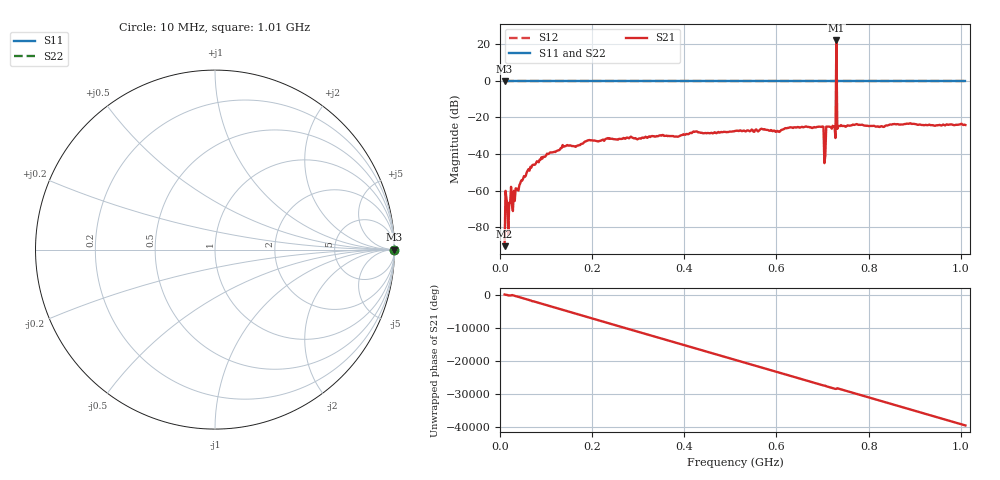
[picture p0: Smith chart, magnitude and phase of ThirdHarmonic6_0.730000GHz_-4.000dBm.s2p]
! 8/16/2025 12:24:43 AM
! C:\ANRITSUVNA\TEMP\TEMP.S2P
! CHANNEL.1
! TR.MEASUREMENT
! RAW.DATA
! RF.CORRECTION.OFF
! AVERAGING.OFF
! IF.BANDWIDTH: 5KHZ
! SWEEPTYPE:  FREQ.SWEEP(Linear)
! Reference Plane Port Info
! PORT:  PORT1  PORT2
! DISTANCE:  0  m  0  m
! TIME:  0  s  0  s
! PHASE.OFFSET:  0  deg.  0  deg.
! LOSS:  0  dB  0  dB
! REF.LOSS:  0  dB  0  dB
! REF.FREQ:  0  Hz  0  Hz
! Power Info
! POWER:  -20  dBm  -20  dBm
! EFF.POWER:  -20  dBm  -20  dBm
! SOURCE.ATTEN:  0  dB  0  dB
! TEST.ATTEN:  0  dB  0  dB
# GHZ S RI R 50.0
! FREQ.GHZ  S11RE  S11IM  S21RE  S21IM  S12RE  S12IM  S22RE  S22IM
!; PortSelection: Port_12
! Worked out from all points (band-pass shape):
!   501 points, 10 MHz to 1.01 GHz, reference 50 ohm
!   highest |S21| = 22.12 dB at 730 MHz (marker M1); lowest = -90.4 dB at 10 MHz (marker M2)
!   |S21| within 3 dB of the highest: 729.8876 MHz to 730.1241 MHz (236.5 kHz wide, 0.0324 % of centre)
!   lowest |S11| = 0.0 dB at 10 MHz (marker M3)
!   |S11| at or under -10 dB: nowhere
!   |S22| runs from 0.0 to 0.0 dB; largest |S21 - S12| = 12
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0.01  1 0  2.89e-05 9e-06  1 0  1 0
0.016  1 0  -0.000154 -0.00038  1 0  1 0
0.03  1 0  0.000426 0.00089  1 0  1 0
0.034  1 0  -0.000464 -0.00105  1 0  1 0
0.048  1 0  0.000599 0.00178  1 0  1 0
0.07  1 0  -0.00437 0.00226  1 0  1 0
0.136  1 0  0.00611 0.0166  1 0  1 0
0.178  1 0  -0.0187 -0.00404  1 0  1 0
0.344  1 0  0.0302 -0.0075  1 0  1 0
0.51  1 0  -0.0395 0.0163  1 0  1 0
0.678  1 0  -0.0243 -0.0455  1 0  1 0
0.698  1 0  -0.0503 0.0226  1 0  1 0
0.702  1 0  0.0548 -0.00725  1 0  1 0
0.708  1 0  -0.0189 0.0531  1 0  1 0
0.712  1 0  0.037 -0.0421  1 0  1 0
0.724  1 0  -0.0545 -0.0107  1 0  1 0
0.726  1 0  -0.02 0.055  1 0  1 0
0.73  1 0  7.641 10.23  1 0  1 0
0.734  1 0  -0.0478 0.0336  1 0  1 0
0.736  1 0  0.0241 0.0531  1 0  1 0
0.844  1 0  0.0468 0.0414  1 0  1 0
1.01  1 0  -0.0613 -0.011  1 0  1 0
